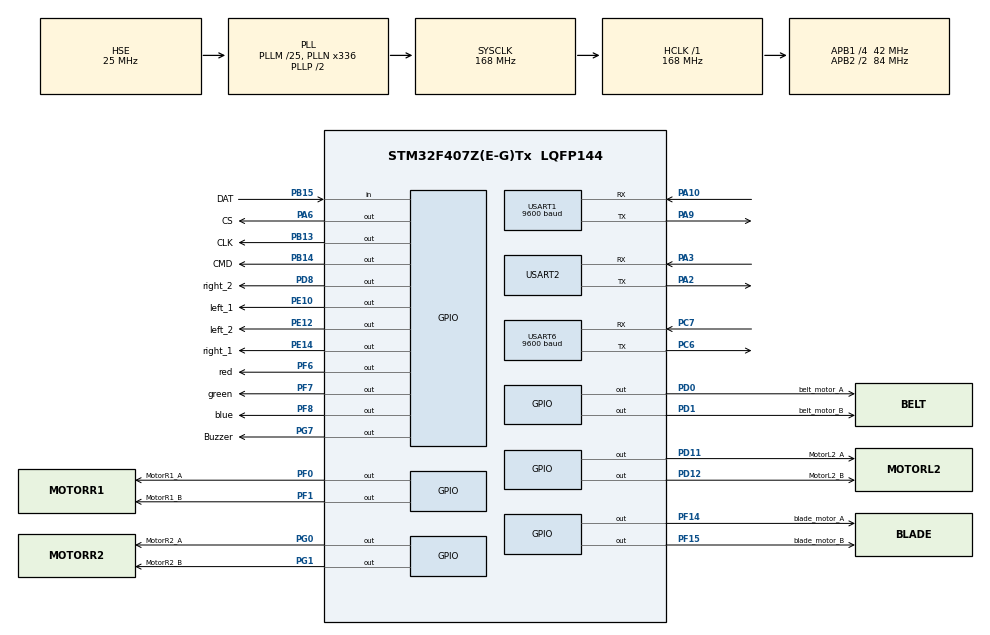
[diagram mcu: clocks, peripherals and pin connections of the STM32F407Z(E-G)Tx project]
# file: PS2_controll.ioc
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Mcu.Family=STM32F4
Mcu.Name=STM32F407Z(E-G)Tx
Mcu.Package=LQFP144
NVIC.PriorityGroup=NVIC_PRIORITYGROUP_4
NVIC.TIM1_BRK_TIM9_IRQn=true\:0\:0\:false\:false\:true\:true\:true\:true
NVIC.TIM7_IRQn=true\:15\:0\:false\:false\:true\:false\:true\:true
NVIC.TimeBase=TIM7_IRQn
NVIC.TimeBaseIP=TIM7
NVIC.USART2_IRQn=true\:1\:0\:true\:false\:true\:true\:true\:true
NVIC.USART6_IRQn=true\:2\:0\:true\:false\:true\:true\:true\:true
PA10.Mode=Asynchronous
PA10.Signal=USART1_RX
PA13.Mode=Serial_Wire
PA13.Signal=SYS_JTMS-SWDIO
PA14.Mode=Serial_Wire
PA14.Signal=SYS_JTCK-SWCLK
PA2.Mode=Asynchronous
PA2.Signal=USART2_TX
PA3.Mode=Asynchronous
PA3.Signal=USART2_RX
PA6.GPIO_Label=CS
PA6.GPIO_Speed=GPIO_SPEED_FREQ_HIGH
PA6.Signal=GPIO_Output
PA9.Mode=Asynchronous
PA9.Signal=USART1_TX
PB13.GPIO_Label=CLK
PB13.GPIO_Speed=GPIO_SPEED_FREQ_HIGH
PB13.Signal=GPIO_Output
PB14.GPIO_Label=CMD
PB14.GPIO_Speed=GPIO_SPEED_FREQ_HIGH
PB14.Signal=GPIO_Output
PB15.GPIO_Label=DAT
PB15.GPIO_PuPd=GPIO_PULLDOWN
PB15.Signal=GPIO_Input
PC14-OSC32_IN.Mode=LSE-External-Oscillator
PC14-OSC32_IN.Signal=RCC_OSC32_IN
PC15-OSC32_OUT.Mode=LSE-External-Oscillator
PC15-OSC32_OUT.Signal=RCC_OSC32_OUT
PC6.Mode=Asynchronous
PC6.Signal=USART6_TX
PC7.Mode=Asynchronous
PC7.Signal=USART6_RX
PD0.GPIO_Label=belt_motor_A
PD0.Signal=GPIO_Output
PD1.GPIO_Label=belt_motor_B
PD1.Signal=GPIO_Output
PD11.GPIO_Label=MotorL2_A
PD11.Signal=GPIO_Output
PD12.GPIO_Label=MotorL2_B
PD12.Signal=GPIO_Output
PD8.GPIO_Label=right_2
PD8.Signal=GPIO_Output
PE10.GPIO_Label=left_1
PE10.Signal=GPIO_Output
PE12.GPIO_Label=left_2
PE12.Signal=GPIO_Output
PE14.GPIO_Label=right_1
PE14.Signal=GPIO_Output
PF0.GPIO_Label=MotorR1_A
PF0.Signal=GPIO_Output
PF1.GPIO_Label=MotorR1_B
PF1.Signal=GPIO_Output
PF14.GPIO_Label=blade_motor_A
PF14.Signal=GPIO_Output
PF15.GPIO_Label=blade_motor_B
PF15.Signal=GPIO_Output
PF6.GPIO_Label=red
PF6.Signal=GPIO_Output
PF7.GPIO_Label=green
PF7.Signal=GPIO_Output
PF8.GPIO_Label=blue
PF8.Signal=GPIO_Output
PG0.GPIO_Label=MotorR2_A
PG0.Signal=GPIO_Output
PG1.GPIO_Label=MotorR2_B
PG1.Signal=GPIO_Output
PG7.GPIO_Label=Buzzer
PG7.GPIO_Speed=GPIO_SPEED_FREQ_HIGH
PG7.PinState=GPIO_PIN_RESET
PG7.Signal=GPIO_Output
PH0-OSC_IN.Mode=HSE-External-Oscillator
PH0-OSC_IN.Signal=RCC_OSC_IN
PH1-OSC_OUT.Mode=HSE-External-Oscillator
PH1-OSC_OUT.Signal=RCC_OSC_OUT
ProjectManager.HeapSize=0x200
ProjectManager.StackSize=0x400
ProjectManager.TargetToolchain=MDK-ARM V5.32
RCC.48MHZClocksFreq_Value=84000000
RCC.AHBFreq_Value=168000000
RCC.APB1CLKDivider=RCC_HCLK_DIV4
RCC.APB1Freq_Value=42000000
RCC.APB1TimFreq_Value=84000000
RCC.APB2CLKDivider=RCC_HCLK_DIV2
RCC.APB2Freq_Value=84000000
RCC.APB2TimFreq_Value=168000000
RCC.CortexFreq_Value=168000000
RCC.HCLKFreq_Value=168000000
RCC.HSE_VALUE=25000000
RCC.HSI_VALUE=16000000
RCC.PLLM=25
RCC.PLLN=336
RCC.PLLSourceVirtual=RCC_PLLSOURCE_HSE
RCC.SYSCLKFreq_VALUE=168000000
RCC.SYSCLKSource=RCC_SYSCLKSOURCE_PLLCLK
RCC.VCOOutputFreq_Value=336000000
TIM9.Prescaler=84-1
USART1.BaudRate=9600
USART1.VirtualMode=VM_ASYNC
USART2.VirtualMode=VM_ASYNC
USART6.BaudRate=9600
USART6.VirtualMode=VM_ASYNC
VP_SYS_VS_tim7.Mode=TIM7
VP_TIM9_VS_ClockSourceINT.Mode=Internal
board=custom

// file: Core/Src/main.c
/* USER CODE BEGIN Header */
/**
  ******************************************************************************
  * @file           : main.c
  * @brief          : Main program body
  ******************************************************************************
  * @attention
  *
  * Copyright (c) 2023 STMicroelectronics.
  * All rights reserved.
  *
  * This software is licensed under terms that can be found in the LICENSE file
  * in the root directory of this software component.
  * If no LICENSE file comes with this software, it is provided AS-IS.
  *
  ******************************************************************************
  */
/* USER CODE END Header */
#include "main.h"
#include "tim.h"
#include "usart.h"
#include "gpio.h"

/* USER CODE BEGIN Includes */
#include "stm32f4xx.h"
//#include "bsp_debug_usart.h"
//#include "bsp_SysTick.h"
//#include "core_delay.h"
//#include "bsp_dht11.h"
//#include "bsp_esp8266.h"
//#include "bsp_esp8266_test.h"
/* USER CODE END Includes */

/* USER CODE BEGIN PV */
uint8_t txdatabuffer[4],rxdatabuffer[2];
uint16_t tof_diatance=0;
uint16_t wifi_order_fin = 0;
uint16_t tof_flag=0;
  u8 key=0;
extern uint16_t wifi_order[6];
extern u8 Flag;
//extern uint16_t wifi_flag=0;
/* USER CODE END PV */

void SystemClock_Config(void);

int main(void)
{

  /* MCU Configuration--------------------------------------------------------*/

  /* Reset of all peripherals, Initializes the Flash interface and the Systick. */
  HAL_Init();

  /* Configure the system clock */
  SystemClock_Config();

  /* Initialize all configured peripherals */
  MX_GPIO_Init();
  MX_USART1_UART_Init();
  MX_USART2_UART_Init();
  MX_TIM9_Init();
  MX_USART6_UART_Init();
  /* USER CODE BEGIN 2 */
  PS2_SetInit();
  HAL_UART_Receive_IT(&huart6,rxdatabuffer,sizeof(rxdatabuffer));
  //Debug_USART_Config ();                                                      //��ʼ������1
  //CPU_TS_TmrInit();                                                     //��ʼ��DWT��������������ʱ����
  //LED_GPIO_Config();                                                    //��ʼ��RGB�ʵ�
	//ESP8266_Init ();                                                      //��ʼ��WiFiģ��ʹ�õĽӿں�����
	//DHT11_GPIO_Config ();                                                        //��ʼ��DHT11

  //printf ( "\r\n野火 WF-ESP8266 WiFi模块测试例程\r\n" );                 //打印测试例程提示信息

  //ESP8266_StaTcpClient_Unvarnish_ConfigTest();                          //对ESP8266进行配置
  //SysTick_Init ();                                                       //配置 SysTick �??????? 10ms 中断�???????次，在中断里读取传感器数�???????
  /* USER CODE END 2 */

  /* Infinite loop */
  while (1)
  {

    /* USER CODE BEGIN 3 */

    /*wifi_order_swtich();

    if(wifi_flag == 1)
    {
      motor_controll_wifi();
    }*/
    //key =PS2_DataKey();
    // HAL_GPIO_WritePin(Buzzer_GPIO_Port,Buzzer_GPIO_Pin,GPIO_PIN_SET);
    motor_controll_V1();
    wifi_order_swtich();
    motor_controll_wifi();
    HAL_GPIO_WritePin(blade_motor_A_GPIO_Port,blade_motor_A_Pin,GPIO_PIN_SET);
    HAL_GPIO_WritePin(blade_motor_B_GPIO_Port,blade_motor_B_Pin,GPIO_PIN_RESET);

    HAL_GPIO_TogglePin(red_GPIO_Port,red_Pin);
    if(tof_flag==2)
    {
      HAL_GPIO_WritePin(Buzzer_GPIO_Port,Buzzer_GPIO_Pin,GPIO_PIN_RESET);
    }/*else{
      HAL_GPIO_WritePin(Buzzer_GPIO_Port,Buzzer_GPIO_Pin,GPIO_PIN_RESET);
      tof_flag=0;
    }*/

    /*if( read_dht11_finish ) // read_dht11_finish == 1 or read_dht11_finish == -1
    {

      ESP8266_SendDHT11DataTest(); // ESP8266 发�?�一次温湿度数据
      //printf("read_dht11_finish=%d\r\n", read_dht11_finish);    //Debug
      read_dht11_finish = 0;       // 清零标志�???????

    }*/

  }
  /* USER CODE END 3 */
}

void SystemClock_Config(void)
{
  RCC_OscInitTypeDef RCC_OscInitStruct = {0};
  RCC_ClkInitTypeDef RCC_ClkInitStruct = {0};

  /** Configure the main internal regulator output voltage
  */
  __HAL_RCC_PWR_CLK_ENABLE();
  __HAL_PWR_VOLTAGESCALING_CONFIG(PWR_REGULATOR_VOLTAGE_SCALE1);

  /** Initializes the RCC Oscillators according to the specified parameters
  * in the RCC_OscInitTypeDef structure.
  */
  RCC_OscInitStruct.OscillatorType = RCC_OSCILLATORTYPE_HSE;
  RCC_OscInitStruct.HSEState = RCC_HSE_ON;
  RCC_OscInitStruct.PLL.PLLState = RCC_PLL_ON;
  RCC_OscInitStruct.PLL.PLLSource = RCC_PLLSOURCE_HSE;
  RCC_OscInitStruct.PLL.PLLM = 25;
  RCC_OscInitStruct.PLL.PLLN = 336;
  RCC_OscInitStruct.PLL.PLLP = RCC_PLLP_DIV2;
  RCC_OscInitStruct.PLL.PLLQ = 4;
  if (HAL_RCC_OscConfig(&RCC_OscInitStruct) != HAL_OK)
  {
    Error_Handler();
  }

  /** Initializes the CPU, AHB and APB buses clocks
  */
  RCC_ClkInitStruct.ClockType = RCC_CLOCKTYPE_HCLK|RCC_CLOCKTYPE_SYSCLK
                              |RCC_CLOCKTYPE_PCLK1|RCC_CLOCKTYPE_PCLK2;
  RCC_ClkInitStruct.SYSCLKSource = RCC_SYSCLKSOURCE_PLLCLK;
  RCC_ClkInitStruct.AHBCLKDivider = RCC_SYSCLK_DIV1;
  RCC_ClkInitStruct.APB1CLKDivider = RCC_HCLK_DIV4;
  RCC_ClkInitStruct.APB2CLKDivider = RCC_HCLK_DIV2;

  if (HAL_RCC_ClockConfig(&RCC_ClkInitStruct, FLASH_LATENCY_5) != HAL_OK)
  {
    Error_Handler();
  }
}

/* USER CODE BEGIN 4 */
void HAL_GPIO_EXTI_Callback(uint16_t GPIO_Pin)
{
  if (GPIO_Pin==GPIO_PIN_6)
  {
    uint32_t temp=HAL_GetTick();
    *((uint32_t*)txdatabuffer) = temp;
    while(huart6.gState!=HAL_UART_STATE_READY)
    HAL_UART_Transmit_IT(&huart6,txdatabuffer,sizeof(txdatabuffer));
  }
  all_turnoff();
  HAL_GPIO_WritePin(blade_motor_A_GPIO_Port,blade_motor_A_Pin,GPIO_PIN_RESET);
  HAL_GPIO_WritePin(blade_motor_B_GPIO_Port,blade_motor_B_Pin,GPIO_PIN_RESET);
  HAL_GPIO_WritePin(belt_motor_A_GPIO_Port,belt_motor_A_Pin,GPIO_PIN_RESET);
  HAL_GPIO_WritePin(belt_motor_B_GPIO_Port,belt_motor_B_Pin,GPIO_PIN_RESET);
}

void HAL_UART_RxCpltCallback(UART_HandleTypeDef *huart)
{
  if(huart==&huart6)
  {
    HAL_UART_Receive_IT(&huart6,rxdatabuffer,sizeof(rxdatabuffer));
    tof_diatance=*((uint16_t*)rxdatabuffer);
    //HAL_UART_Receive_IT(&huart6,rxdatabuffer,sizeof(rxdatabuffer));
    tof_flag=1;
    HAL_GPIO_WritePin(Buzzer_GPIO_Port,Buzzer_GPIO_Pin,GPIO_PIN_RESET);
  }
}
/* USER CODE END 4 */

void HAL_TIM_PeriodElapsedCallback(TIM_HandleTypeDef *htim)
{
  if (htim->Instance == TIM7) {
    HAL_IncTick();
  }
}

void Error_Handler(void)
{
  __disable_irq();
  while (1)
  {
  }
}
